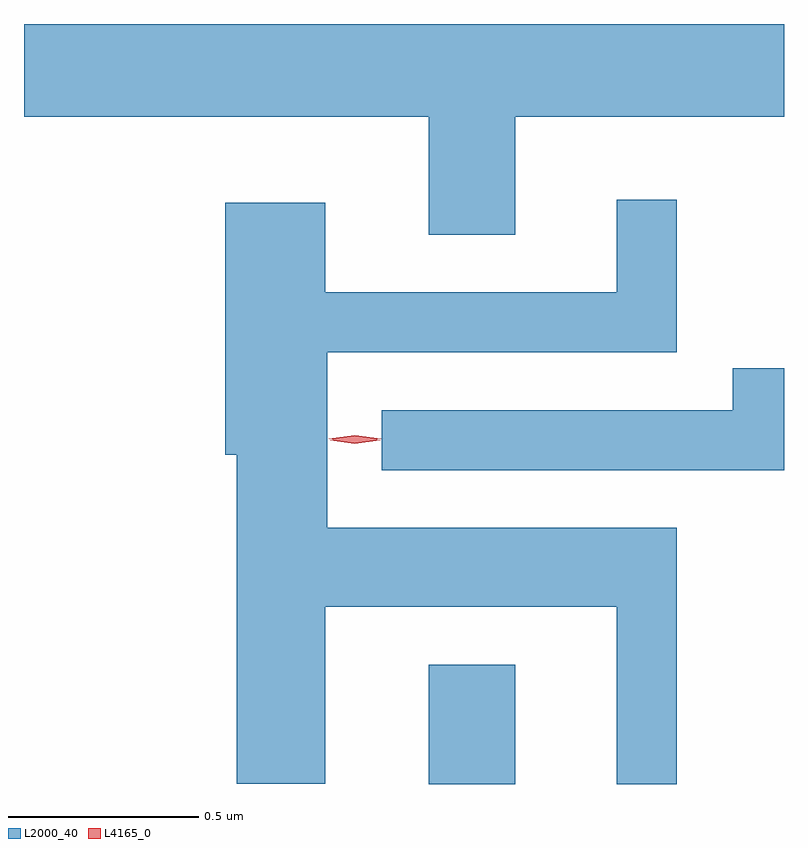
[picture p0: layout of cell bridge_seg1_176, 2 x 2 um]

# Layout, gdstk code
import gdstk
lib = gdstk.Library(unit=1e-6, precision=1e-09)
def R(c, l, rs):  # rectangles x0, y0, x1, y1
    for r in rs: c.add(gdstk.rectangle(r[:2], r[2:], *l))
def P(c, l, *ps):  # polygons
    for p in ps: c.add(gdstk.Polygon(p, *l))
L2000_40 = (2000, 40)
L4165_0 = (4165, 0)

bridge_seg1_176 = lib.new_cell('bridge_seg1_176')
R(bridge_seg1_176, L2000_40, [(719.371,937.78,719.599,938.094)])
P(bridge_seg1_176, L2000_40, [(719.599,939.536),(720.306,939.536),(720.306,939.78),(718.306,939.78),(718.306,939.536),(719.371,939.536),(719.371,939.226),(719.599,939.226)],
  [(720.024,938.454),(719.104,938.454),(719.104,938.916),(720.024,938.916),(720.024,939.318),(719.866,939.318),(719.866,939.074),(719.099,939.074),(719.099,939.309),(718.836,939.309),(718.836,938.646),(718.866,938.646),(718.866,937.781),(719.099,937.781),(719.099,938.246),(719.866,938.246),(719.866,937.78),(720.024,937.78)],
  [(720.306,938.874),(720.171,938.874),(720.171,938.764),(719.248,938.764),(719.248,938.606),(720.306,938.606)])
P(bridge_seg1_176, L4165_0, [(719.177,938.675),(719.112,938.684),(719.112,938.685),(719.112,938.685),(719.177,938.695),(719.242,938.685),(719.243,938.685),(719.242,938.684)],
  [(719.177,938.679),(719.108,938.688),(719.108,938.689),(719.108,938.689),(719.177,938.698),(719.246,938.689),(719.246,938.688),(719.246,938.688)])

lib.write_gds('bridge_seg1_176.gds')
